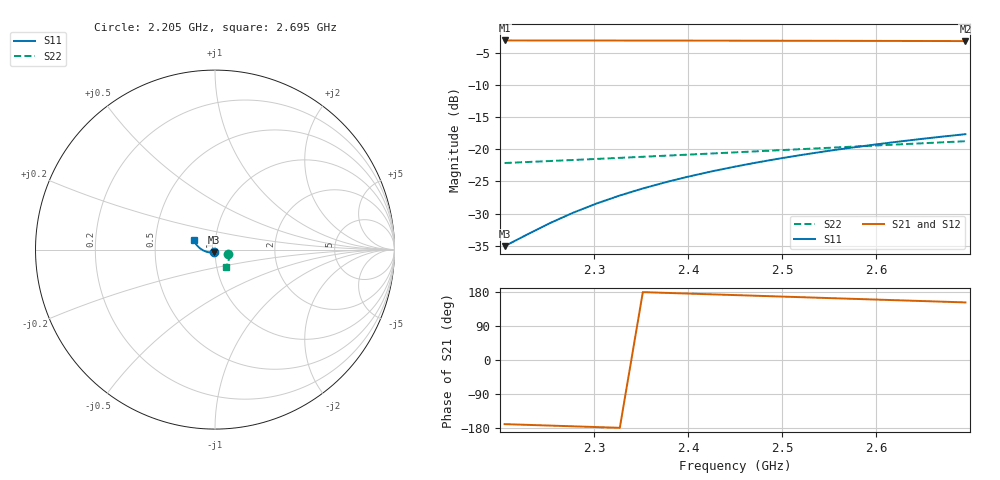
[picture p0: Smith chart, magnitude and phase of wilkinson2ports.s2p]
# GHz S RI R 50
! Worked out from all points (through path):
!   21 points, 2.205 GHz to 2.695 GHz, reference 50 ohm
!   highest |S21| = -3.05 dB at 2.205 GHz (marker M1); lowest = -3.1 dB at 2.695 GHz (marker M2)
!   group delay of S21, straight-line fit = 220 ps
!   lowest |S11| = -35.1 dB at 2.205 GHz (marker M3), VSWR 1.04, Z = 49.2 - j1.56 ohm
!   |S11| at or under -10 dB: start of sweep to end of sweep
!   |S22| runs from -22.1 to -18.7 dB; largest |S21 - S12| = 1.2e-13
2.205  -0.00785 -0.0158  -0.6914 -0.1315  -0.6914 -0.1315  0.075 -0.0227
2.2295  -0.0146 -0.0162  -0.6953 -0.1079  -0.6953 -0.1079  0.0755 -0.0256
2.254  -0.0214 -0.0162  -0.6984 -0.0842  -0.6984 -0.0842  0.076 -0.0286
2.2785  -0.0282 -0.0157  -0.7006 -0.0605  -0.7006 -0.0605  0.0764 -0.0318
2.303  -0.035 -0.0148  -0.7021 -0.0366  -0.7021 -0.0366  0.0767 -0.035
2.3275  -0.0417 -0.0134  -0.7026 -0.0128  -0.7026 -0.0128  0.0769 -0.0383
2.352  -0.0483 -0.0115  -0.7024 0.0111  -0.7024 0.0111  0.0769 -0.0418
2.3765  -0.0548 -0.00929  -0.7013 0.0349  -0.7013 0.0349  0.0769 -0.0454
2.401  -0.0612 -0.00659  -0.6994 0.0586  -0.6994 0.0586  0.0768 -0.049
2.4255  -0.0674 -0.00348  -0.6966 0.0822  -0.6966 0.0822  0.0765 -0.0528
2.45  -0.0734 3.74e-05  -0.6931 0.1058  -0.6931 0.1058  0.076 -0.0566
2.4745  -0.0792 0.00396  -0.6887 0.1291  -0.6887 0.1291  0.0754 -0.0605
2.499  -0.0849 0.00826  -0.6835 0.1522  -0.6835 0.1522  0.0746 -0.0645
2.5235  -0.0902 0.0129  -0.6775 0.1752  -0.6775 0.1752  0.0736 -0.0686
2.548  -0.0953 0.018  -0.6707 0.1979  -0.6707 0.1979  0.0725 -0.0727
2.5725  -0.1001 0.0234  -0.6632 0.2203  -0.6632 0.2203  0.0711 -0.0769
2.597  -0.1046 0.0291  -0.6548 0.2424  -0.6548 0.2424  0.0696 -0.0811
2.6215  -0.1088 0.0351  -0.6458 0.2641  -0.6458 0.2641  0.0678 -0.0854
2.646  -0.1127 0.0414  -0.636 0.2855  -0.636 0.2855  0.0658 -0.0897
2.6705  -0.1162 0.0479  -0.6255 0.3066  -0.6255 0.3066  0.0636 -0.0939
2.695  -0.1193 0.0548  -0.6142 0.3272  -0.6142 0.3272  0.0612 -0.0982
